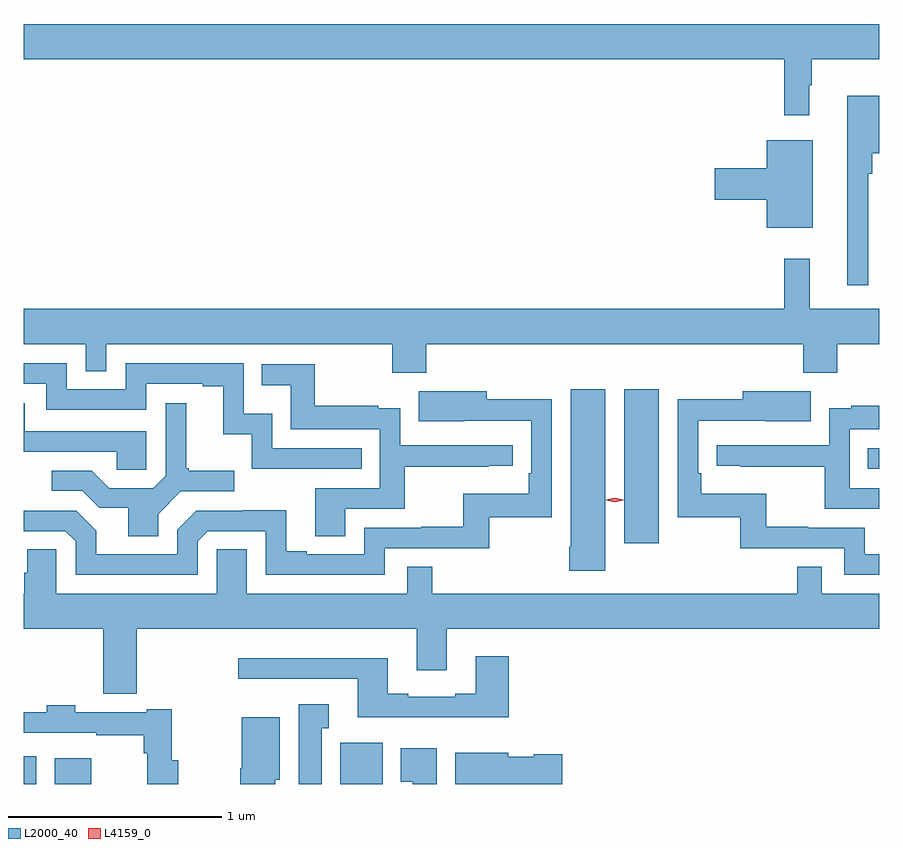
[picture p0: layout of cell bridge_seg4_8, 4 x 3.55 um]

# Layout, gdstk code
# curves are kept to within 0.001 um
import gdstk
lib = gdstk.Library(unit=1e-6, precision=1e-09)
def R(c, l, rs):  # rectangles x0, y0, x1, y1
    for r in rs: c.add(gdstk.rectangle(r[:2], r[2:], *l))
def P(c, l, *ps):  # polygons
    for p in ps: c.add(gdstk.Polygon(p, *l))
L2000_40 = (2000, 40)
L4159_0 = (4159, 0)

bridge_seg4_8 = lib.new_cell('bridge_seg4_8')
R(bridge_seg4_8, L2000_40, [(1127.805,790.767,1127.863,790.897), (1127.951,790.767,1128.121,790.888), (1129.286,790.767,1129.483,790.96), (1130.612,791.892,1130.773,792.613), (1131.751,792.24,1131.805,792.336)])
P(bridge_seg4_8, L2000_40, [(1131.478,794.033),(1131.49,794.033),(1131.49,794.156),(1131.805,794.156),(1131.805,794.32),(1127.805,794.32),(1127.805,794.156),(1131.361,794.156),(1131.361,793.893),(1131.478,793.893)],
  [(1131.753,793.619),(1131.773,793.619),(1131.773,793.715),(1131.805,793.715),(1131.805,793.984),(1131.656,793.984),(1131.656,793.098),(1131.753,793.098)],
  [(1131.493,793.777),(1131.278,793.777),(1131.278,793.646),(1131.036,793.646),(1131.036,793.499),(1131.278,793.499),(1131.278,793.367),(1131.493,793.367)],
  [(1129.688,792.824),(1131.449,792.824),(1131.449,792.689),(1131.609,792.689),(1131.609,792.824),(1131.805,792.824),(1131.805,792.988),(1131.479,792.988),(1131.479,793.222),(1131.361,793.222),(1131.361,792.988),(1127.805,792.988),(1127.805,792.824),(1128.096,792.824),(1128.096,792.697),(1128.192,792.697),(1128.192,792.824),(1129.528,792.824),(1129.528,792.689),(1129.688,792.689)],
  [(1129.385,792.336),(1128.966,792.336),(1128.966,792.499),(1128.834,792.499),(1128.834,792.735),(1128.282,792.735),(1128.282,792.612),(1128.006,792.612),(1128.006,792.735),(1127.805,792.735),(1127.805,792.639),(1127.91,792.639),(1127.91,792.516),(1128.378,792.516),(1128.378,792.639),(1128.641,792.639),(1128.641,792.627),(1128.737,792.627),(1128.737,792.401),(1128.87,792.401),(1128.87,792.24),(1129.385,792.24)],
  [(1129.309,792.054),(1129.586,792.054),(1129.586,792.25),(1129.979,792.25),(1129.979,792.255),(1130.092,792.255),(1130.092,792.351),(1129.566,792.351),(1129.566,792.523),(1129.463,792.523),(1129.463,792.535),(1129.165,792.535),(1129.165,792.729),(1128.919,792.729),(1128.919,792.632),(1129.054,792.632),(1129.054,792.426),(1129.47,792.426),(1129.47,792.15),(1129.169,792.15),(1129.169,791.926),(1129.309,791.926)],
  [(1130.524,792.613),(1130.363,792.613),(1130.363,791.875),(1130.356,791.875),(1130.356,791.763),(1130.524,791.763)],
  [(1128.618,791.901),(1128.666,791.949),(1128.936,791.949),(1128.936,791.745),(1129.494,791.745),(1129.494,791.868),(1129.981,791.868),(1129.981,792.015),(1130.274,792.015),(1130.274,792.566),(1129.969,792.566),(1129.969,792.604),(1129.651,792.604),(1129.651,792.464),(1130.178,792.465),(1130.178,792.22),(1130.165,792.22),(1130.165,792.124),(1129.86,792.124),(1129.86,791.969),(1129.663,791.969),(1129.663,791.964),(1129.398,791.964),(1129.398,791.841),(1129.129,791.841),(1129.129,791.854),(1129.033,791.854),(1129.033,792.047),(1128.828,792.047),(1128.828,792.045),(1128.612,792.045),(1128.522,791.955),(1128.522,791.841),(1128.145,791.841),(1128.145,791.951),(1128.051,792.045),(1127.805,792.045),(1127.805,791.949),(1128,791.949),(1128.048,791.901),(1128.048,791.745),(1128.618,791.745)],
  [(1131.805,791.841),(1131.738,791.841),(1131.738,791.964),(1131.473,791.964),(1131.473,791.969),(1131.277,791.969),(1131.277,792.124),(1130.972,792.124),(1130.972,792.22),(1130.958,792.22),(1130.958,792.465),(1131.271,792.465),(1131.271,792.464),(1131.485,792.464),(1131.485,792.604),(1131.167,792.604),(1131.167,792.566),(1130.862,792.566),(1130.862,792.015),(1131.156,792.015),(1131.156,791.868),(1131.642,791.868),(1131.642,791.745),(1131.805,791.745)],
  [(1128.378,792.417),(1127.809,792.417),(1127.809,792.547),(1127.805,792.547),(1127.805,792.321),(1128.241,792.321),(1128.241,792.237),(1128.378,792.237)],
  [(1128.433,792.028),(1128.54,792.135),(1128.79,792.135),(1128.79,792.232),(1128.577,792.232),(1128.577,792.244),(1128.565,792.244),(1128.565,792.547),(1128.468,792.547),(1128.468,792.207),(1128.411,792.15),(1128.205,792.15),(1128.124,792.231),(1127.937,792.231),(1127.937,792.138),(1128.078,792.138),(1128.158,792.058),(1128.293,792.058),(1128.293,791.926),(1128.433,791.926)],
  [(1131.805,792.15),(1131.666,792.15),(1131.666,792.426),(1131.805,792.426),(1131.805,792.535),(1131.673,792.535),(1131.673,792.523),(1131.57,792.523),(1131.57,792.351),(1131.045,792.351),(1131.045,792.255),(1131.157,792.255),(1131.157,792.25),(1131.55,792.25),(1131.55,792.054),(1131.805,792.054)],
  [(1128.333,791.492),(1129.643,791.492),(1129.643,791.298),(1129.783,791.298),(1129.783,791.492),(1131.805,791.492),(1131.805,791.656),(1131.537,791.656),(1131.537,791.783),(1131.421,791.783),(1131.421,791.656),(1129.715,791.656),(1129.715,791.783),(1129.599,791.783),(1129.599,791.656),(1128.847,791.656),(1128.847,791.864),(1128.708,791.864),(1128.708,791.656),(1127.958,791.656),(1127.958,791.864),(1127.821,791.864),(1127.821,791.754),(1127.807,791.754),(1127.807,791.656),(1127.805,791.656),(1127.805,791.492),(1128.178,791.492),(1128.178,791.188),(1128.333,791.188)],
  [(1130.072,791.365),(1129.919,791.365),(1129.919,791.188),(1129.823,791.188),(1129.823,791.175),(1129.603,791.175),(1129.603,791.188),(1129.507,791.188),(1129.507,791.356),(1128.807,791.356),(1128.807,791.259),(1129.367,791.259),(1129.367,791.078),(1130.072,791.078)],
  [(1129.198,791.027),(1129.231,791.027),(1129.231,791.14),(1129.091,791.14),(1129.091,790.767),(1129.198,790.767)],
  [(1128.528,790.879),(1128.496,790.879),(1128.496,791.116),(1128.38,791.116),(1128.38,791.103),(1128.045,791.103),(1128.045,791.136),(1127.913,791.136),(1127.913,791.103),(1127.805,791.103),(1127.805,791.007),(1128.145,791.007),(1128.145,790.995),(1128.367,790.995),(1128.367,790.91),(1128.382,790.91),(1128.382,790.767),(1128.528,790.767)],
  [(1128.982,790.788),(1129.003,790.788),(1129.003,791.08),(1128.824,791.08),(1128.824,790.84),(1128.817,790.84),(1128.817,790.767),(1128.982,790.767)],
  [(1129.735,790.933),(1129.568,790.933),(1129.568,790.777),(1129.625,790.777),(1129.625,790.767),(1129.735,790.767)],
  [(1130.323,790.907),(1130.19,790.907),(1130.19,790.894),(1130.07,790.894),(1130.07,790.912),(1129.823,790.912),(1129.823,790.767),(1130.323,790.767)])
P(bridge_seg4_8, L4159_0, [(1130.568,792.085),(1130.528,792.094),(1130.528,792.095),(1130.528,792.095),(1130.568,792.105),(1130.608,792.095),(1130.608,792.095),(1130.608,792.094)])

lib.write_gds('bridge_seg4_8.gds')
